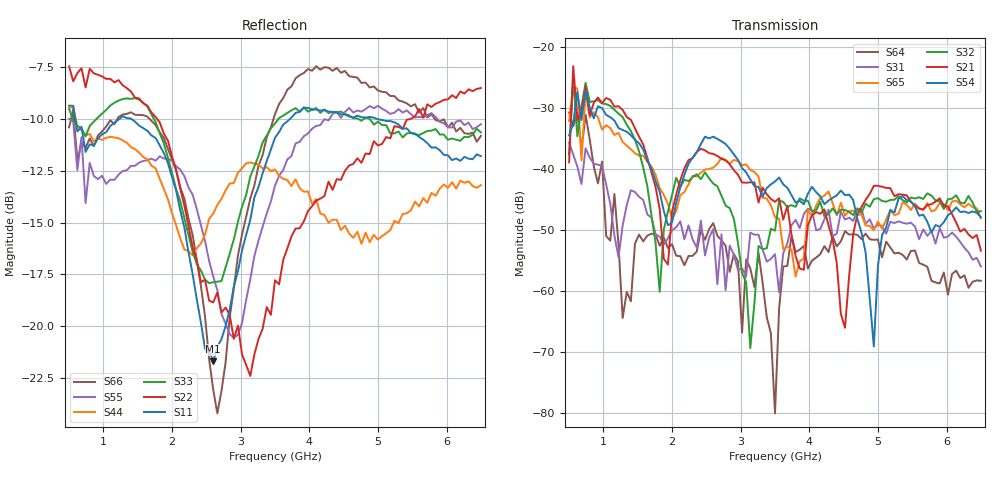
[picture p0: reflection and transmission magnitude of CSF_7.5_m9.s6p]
!Keysight Technologies,M9804A,MY58100912,A.14.10.03
!Date: Thursday, April 27, 2023 10:28:33
!Correction: S11(C  6-Port  )
!S12(C  6-Port  )
!S13(C  6-Port  )
!S14(C  6-Port  )
!S15(C  6-Port  )
!S16(C  6-Port  )
!S21(C  6-Port  )
!S22(C  6-Port  )
!S23(C  6-Port  )
!S24(C  6-Port  )
!S25(C  6-Port  )
!S26(C  6-Port  )
!S31(C  6-Port  )
!S32(C  6-Port  )
!S33(C  6-Port  )
!S34(C  6-Port  )
!S35(C  6-Port  )
!S36(C  6-Port  )
!S41(C  6-Port  )
!S42(C  6-Port  )
!S43(C  6-Port  )
!S44(C  6-Port  )
!S45(C  6-Port  )
!S46(C  6-Port  )
!S51(C  6-Port  )
!S52(C  6-Port  )
!S53(C  6-Port  )
!S54(C  6-Port  )
!S55(C  6-Port  )
!S56(C  6-Port  )
!S61(C  6-Port  )
!S62(C  6-Port  )
!S63(C  6-Port  )
!S64(C  6-Port  )
!S65(C  6-Port  )
!S66(C  6-Port  )
!S6P File: Measurement: :
# Hz S  RI  R 50
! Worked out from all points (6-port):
!   101 points, 500 MHz to 6.5 GHz, reference 50 ohm
!   strongest paths, dB at 500 MHz, 2 GHz, 3.5 GHz, 5 GHz, 6.5 GHz:
!     S54: -34.5, -48.8, -42.1, -55.9, -47.9
!     S21: -38.9, -47.0, -45.4, -42.8, -53.4
!     S32: -37.7, -44.3, -50.2, -44.8, -47.0
!     S65: -32.1, -48.1, -47.9, -48.7, -48.1
!     S31: -35.7, -50.1, -54.0, -49.2, -56.0
!     S64: -30.8, -52.4, -80.1, -51.6, -58.4
!   lowest |S11| = -21.7 dB at 2.6 GHz (marker M1), VSWR 1.18, Z = 42.6 + j2.06 ohm
!   |S11| at or under -10 dB: 589.8 MHz to 1.238 GHz (648.4 MHz wide, 70.9 % of centre); 1.401 GHz to 3.723 GHz (2.322 GHz wide, 90.6 % of centre); 4.974 GHz to end of sweep
